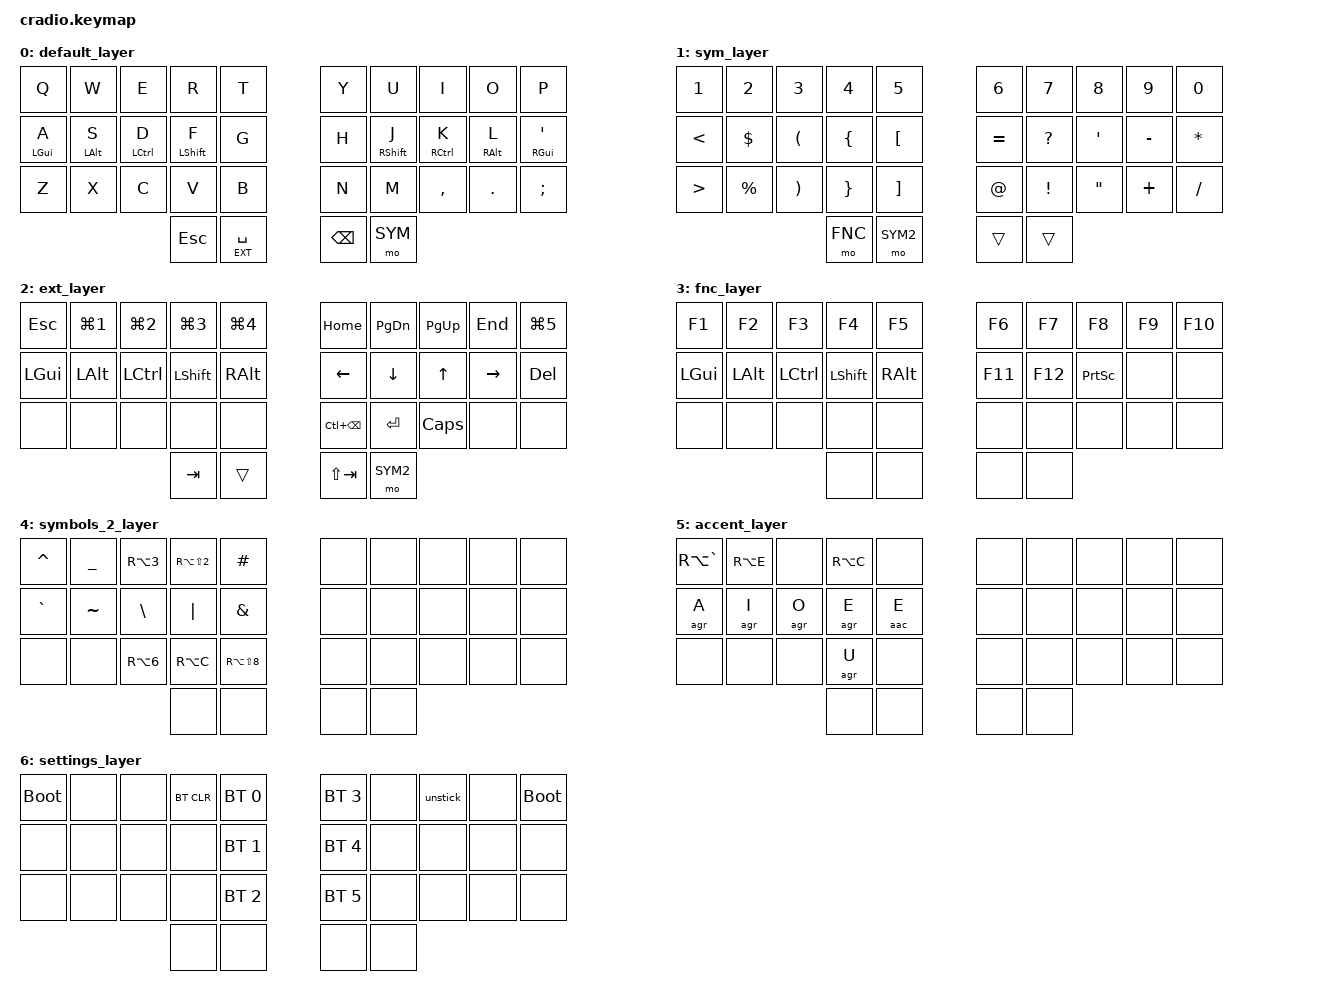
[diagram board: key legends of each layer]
/*
 * Copyright (c) 2020 The ZMK Contributors
 *
 * SPDX-License-Identifier: MIT
 */

#include <behaviors.dtsi>
#include <dt-bindings/zmk/keys.h>
#include <dt-bindings/zmk/bt.h>

// OS layout assumed: macOS ABC/US.
// Accents come from Option dead keys: RA(GRAVE)+vowel = grave, RA(E)+vowel = acute.
//
// Home-row mods (Miryoku GACS order), tuned with positional hold-tap:
//   Left  home row:  A=Gui  S=Alt  D=Ctrl  F=Shift
//   Right home row:  J=Shift  K=Ctrl  L=Alt  '=Gui
// A left-hand mod only activates as a mod when the *next* key is on the right
// hand or a thumb (and vice-versa), so same-hand rolls stay plain letters.
// require-prior-idle-ms makes them behave as plain letters during fast typing;
// Shift (F/J) is exempt from it, since capitals follow a keypress by nature.
//
// Ctrl/Cmd shortcuts therefore need no dedicated keys: hold the opposite-hand
// mod and press the real letter, on the base layer.
//   C-c=K+C  C-d=K+D  C-f=K+F  C-u=D+U  C-n=D+N  C-p=D+P
//   Cmd-c=' +C  Cmd-v=' +V  Cmd-z=' +Z  etc.

// Layer definitions
    #define BASE 0
    #define SYM 1
    #define EXT 2
    #define FNC 3
    #define SYM2 4
    #define ACCENT 5
    #define SETTINGS 6
// -----------------

// Positional hold-tap key groups (used by home-row mods below).
#define KEYS_L 0 1 2 3 4 10 11 12 13 14 20 21 22 23 24   // left hand
#define KEYS_R 5 6 7 8 9 15 16 17 18 19 25 26 27 28 29   // right hand
#define THUMBS 30 31 32 33

&mt {
   //  flavor = "tap-preferred";
   // tapping_term_ms = <200>;
};

&sk {
    ignore-modifiers;
};

/ {
    behaviors {
        // Home-row mod, left hand: only holds when a right-hand/thumb key follows.
        hml: home_row_mod_left {
            compatible = "zmk,behavior-hold-tap";
            #binding-cells = <2>;
            flavor = "balanced";
            tapping-term-ms = <280>;
            quick-tap-ms = <175>;
            require-prior-idle-ms = <150>;
            bindings = <&kp>, <&kp>;
            hold-trigger-key-positions = <KEYS_R THUMBS>;
            hold-trigger-on-release;
        };
        // Home-row mod, right hand: only holds when a left-hand/thumb key follows.
        hmr: home_row_mod_right {
            compatible = "zmk,behavior-hold-tap";
            #binding-cells = <2>;
            flavor = "balanced";
            tapping-term-ms = <280>;
            quick-tap-ms = <175>;
            require-prior-idle-ms = <150>;
            bindings = <&kp>, <&kp>;
            hold-trigger-key-positions = <KEYS_L THUMBS>;
            hold-trigger-on-release;
        };
        // Shift-only variants of the above, without require-prior-idle-ms:
        // capitals almost always follow a keypress (space or the previous
        // letter), so that guard kills the hold exactly when Shift is wanted.
        // The other mods keep it because a stray Gui/Ctrl fires app shortcuts,
        // while a stray capital is only a typo.
        hsl: home_row_shift_left {
            compatible = "zmk,behavior-hold-tap";
            #binding-cells = <2>;
            flavor = "balanced";
            tapping-term-ms = <280>;
            quick-tap-ms = <175>;
            bindings = <&kp>, <&kp>;
            hold-trigger-key-positions = <KEYS_R THUMBS>;
            hold-trigger-on-release;
        };
        hsr: home_row_shift_right {
            compatible = "zmk,behavior-hold-tap";
            #binding-cells = <2>;
            flavor = "balanced";
            tapping-term-ms = <280>;
            quick-tap-ms = <175>;
            bindings = <&kp>, <&kp>;
            hold-trigger-key-positions = <KEYS_L THUMBS>;
            hold-trigger-on-release;
        };
        // EXT/Space layer-tap: balanced resolves to EXT when the chorded key
        // is released, rather than requiring the full tapping term.
        tlt: thumb_layer_tap {
            compatible = "zmk,behavior-hold-tap";
            #binding-cells = <2>;
            flavor = "balanced";
            tapping-term-ms = <200>;
            bindings = <&mo>, <&kp>;
        };
    };

    macros {
            // sometimes my device thinks a modifier is being held down
            // pressing all modifiers fixes it.
            unstick: unstick {
                label = "ZM_unstick";
                compatible = "zmk,behavior-macro";
                #binding-cells = <0>;
                bindings
                    = <&kp LSHIFT &kp RSHIFT &kp LCTRL &kp RCTRL &kp LALT &kp RALT &kp LGUI &kp RGUI>;
            };
            // grave accent: AltGr+` dead key, then the letter (à è ì ò ù)
            agr: agr {
                label = "ZM_agr";
                compatible = "zmk,behavior-macro-one-param";
                #binding-cells = <1>;
                bindings = <&kp RA(GRAVE)>, <&macro_param_1to1>, <&kp MACRO_PLACEHOLDER>;
            };
            // acute accent: Opt+e dead key, then the letter (é)
            aac: aac {
                label = "ZM_aac";
                compatible = "zmk,behavior-macro-one-param";
                #binding-cells = <1>;
                bindings = <&kp RA(E)>, <&macro_param_1to1>, <&kp MACRO_PLACEHOLDER>;
            };
    };

    combos {
        compatible = "zmk,combos";
            // both right thumb keys
        combo_accent {
            timeout-ms = <300>;
            key-positions = <32 33>;
            bindings = <&mo ACCENT>;
            slow-release;
        };
            // internal-left & external-right thumb keys
            combo_sym2 {
                    timeout-ms = <200>;
                    key-positions = <31 33>;
                    bindings = <&mo SYM2>;
                    slow-release;
            };
            // both left thumbs + right-inner thumb (deliberate, rare layer).
            // Keep <30 31> free for EXT-hold + outer-thumb TAB.
            combo_settings {
                    timeout-ms = <300>;
                    key-positions = <30 31 32>;
                    bindings = <&mo SETTINGS>;
                    slow-release;
            };
    };

    keymap {
            compatible = "zmk,keymap";

        // Base alpha layer + home-row mods.
        default_layer {
        bindings = <
        &kp Q        &kp W        &kp E         &kp R         &kp T        &kp Y  &kp U         &kp I         &kp O        &kp P
        &hml LGUI A  &hml LALT S  &hml LCTRL D  &hsl LSHFT F  &kp G        &kp H  &hsr RSHFT J  &hmr RCTRL K  &hmr RALT L  &hmr RGUI SQT
        &kp Z        &kp X        &kp C         &kp V         &kp B        &kp N  &kp M         &kp COMMA     &kp DOT      &kp SEMI
                                       &kp ESC  &tlt EXT SPACE      &kp BSPC  &mo SYM
        >;
        };

        // Numbers and high frequency symbols
        sym_layer {
        bindings = <
        &kp N1 &kp N2   &kp N3   &kp N4   &kp N5      &kp N6    &kp N7    &kp N8  &kp N9    &kp N0
        &kp LT &kp DLLR &kp LPAR &kp LBRC &kp LBKT    &kp EQUAL &kp QMARK &kp SQT &kp MINUS &kp ASTRK
        &kp GT &kp PRCNT &kp RPAR &kp RBRC &kp RBKT   &kp AT    &kp EXCL  &kp DQT &kp PLUS  &kp FSLH
                                &mo FNC  &mo SYM2      &trans &trans
        >;
        };

        // Navigation, page movement, and mods for chording with arrows.
        // Reached by holding the left-inner thumb (taps SPACE).
        ext_layer {
        bindings = <
        &kp ESC   &kp LG(N1) &kp LG(N2) &kp LG(N3) &kp LG(N4)    &kp HOME     &kp PG_DN &kp PG_UP &kp END   &kp LG(N5)
        &kp LGUI  &kp LALT   &kp LCTRL  &kp LSHFT  &kp RALT      &kp LEFT     &kp DOWN  &kp UP    &kp RIGHT &kp DEL
        &none     &none      &none      &none      &none         &kp LC(BSPC) &kp ENTER &kp CAPS  &none     &none
                                    &kp TAB  &trans       &kp LS(TAB)  &mo SYM2
        >;
        };

        // Function keys with modifiers
        fnc_layer {
        bindings = <
        &kp F1   &kp F2   &kp F3    &kp F4    &kp F5      &kp F6  &kp F7  &kp F8          &kp F9 &kp F10
        &kp LGUI &kp LALT &kp LCTRL &kp LSHFT &kp RALT    &kp F11 &kp F12 &kp PRINTSCREEN &none  &none
        &none    &none    &none     &none     &none       &none   &none   &none           &none  &none
                                &none &none        &none &none
        >;
        };

        // Low frequency symbols.
        symbols_2_layer {
        bindings = <
        &kp CARET &kp UNDER &kp RA(N3) &kp RA(LS(N2)) &kp HASH    &none &none &none &none &none
        &kp GRAVE &kp TILDE &kp BSLH  &kp PIPE        &kp AMPS    &none &none &none &none &none
        &none     &none     &kp RA(N6) &kp RA(C)      &kp RA(LS(N8))  &none &none &none &none &none
                                    &none &none        &none &none
        >;
        };

        // Used to type regional accents.
        accent_layer {
        bindings = <
        &kp RA(GRAVE) &kp RA(E) &none  &kp RA(C) &none    &none &none &none &none &none
        &agr A        &agr I    &agr O &agr E    &aac E   &none &none &none &none &none
        &none         &none     &none  &agr U    &none    &none &none &none &none &none
                                    &none &none        &none &none
        >;
        };

        // Used to change the keyboard's settings.
        settings_layer {
        bindings = <
        &bootloader &none &none &bt BT_CLR &bt BT_SEL 0    &bt BT_SEL 3 &none &unstick &none &bootloader
        &none &none &none &none      &bt BT_SEL 1           &bt BT_SEL 4 &none &none    &none &none
        &none &none &none &none      &bt BT_SEL 2           &bt BT_SEL 5 &none &none    &none &none
                                &none &none        &none &none
        >;
        };

    };
};
